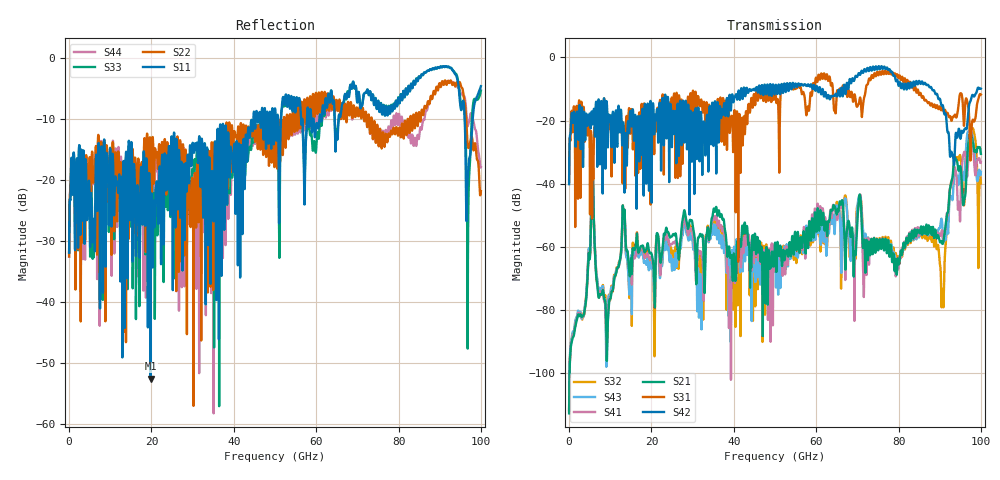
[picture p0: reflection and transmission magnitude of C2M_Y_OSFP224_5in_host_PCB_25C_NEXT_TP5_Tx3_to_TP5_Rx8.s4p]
# GHz S RI R 45
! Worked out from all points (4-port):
!   4000 points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, 25 MHz to 100 GHz, reference 45 ohm
!   strongest paths, dB at 25 MHz, 25.02 GHz, 50.02 GHz, 75.03 GHz, 100 GHz:
!     S42: -40.1, -24.8, -10.3, -3.2, -9.9
!     S31: -39.3, -13.4, -11.4, -5.3, -11.7
!     S21: -112.7, -56.6, -58.7, -60.9, -30.5
!     S41: -112.2, -59.1, -65.7, -59.4, -33.0
!     S43: -111.5, -67.6, -61.3, -59.0, -36.2
!     S32: -111.8, -64.3, -62.5, -60.7, -40.0
!   lowest |S11| = -52.6 dB at 19.8 GHz (marker M1), VSWR 1.00, Z = 45.2 - j0.127 ohm
!   |S11| at or under -10 dB: start of sweep to 44.74 GHz; 59.38 GHz to 60.78 GHz (1.401 GHz wide, 2.33 % of centre); 96.08 GHz to 98 GHz (1.929 GHz wide, 1.99 % of centre) (the widest 3 of 19)
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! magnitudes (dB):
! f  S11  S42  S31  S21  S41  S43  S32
! 25 MHz  -31.9  -40.1  -39.3  -112.7  -112.2  -111.5  -111.8
! 5.7 GHz  -29.5  -19.7  -30.4  -38.7  -38.6  -38.6  -38.7
! 9.2 GHz  -16.0  -14.8  -16.1  -96.2  -91.0  -88.5  -90.2
! 19.8 GHz  -52.6  -13.8  -37.5  -61.9  -63.4  -64.9  -63.7
! 90.65 GHz  -1.4  -15.1  -16.0  -59.0  -55.9  -53.6  -73.7
! 93.85 GHz  -2.7  -24.6  -18.4  -32.0  -35.7  -36.4  -31.5
! 100 GHz  -4.6  -9.9  -11.7  -30.5  -33.0  -36.2  -40.0
